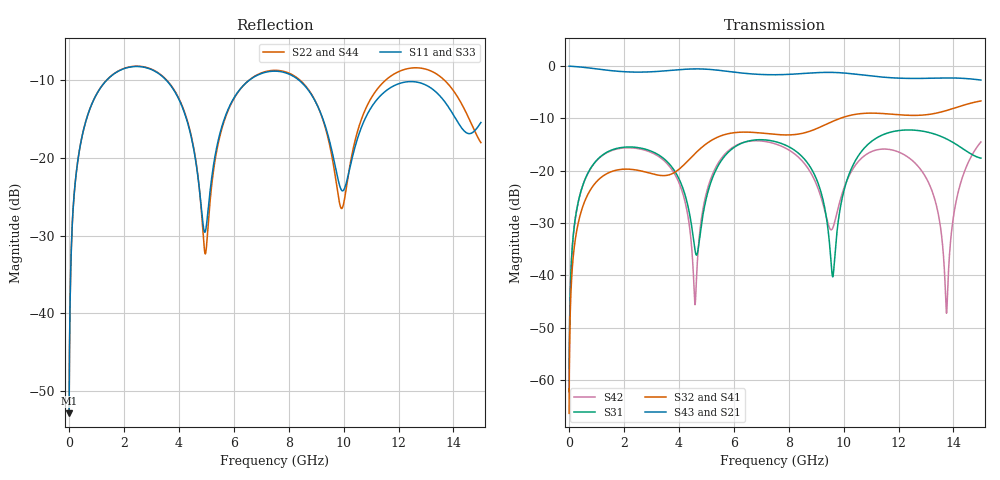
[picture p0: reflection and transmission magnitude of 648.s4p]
! Created with skrf 1.8.0 (http://scikit-rf.org).
# GHz S RI R 50.0
!freq ReS11 ImS11 ReS12 ImS12 ReS13 ImS13
! ReS14 ImS14
! ReS21 ImS21 ReS22 ImS22 ReS23 ImS23
! ReS24 ImS24
! ReS31 ImS31 ReS32 ImS32 ReS33 ImS33
! ReS34 ImS34
! ReS41 ImS41 ReS42 ImS42 ReS43 ImS43
! ReS44 ImS44
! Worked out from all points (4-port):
!   2499 points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, 5 MHz to 15 GHz, reference 50 ohm
!   strongest paths, dB at 5 MHz, 3.476 GHz, 7.19 GHz, 11.1 GHz, 15 GHz:
!     S43: 0.0, -0.9, -1.6, -1.9, -2.7
!     S21: 0.0, -0.9, -1.6, -1.9, -2.7
!     S32: -66.4, -20.9, -12.9, -9.0, -6.7
!     S41: -66.4, -20.9, -12.9, -9.0, -6.6
!     S31: -62.3, -17.8, -14.1, -14.1, -17.6
!     S42: -62.3, -18.1, -14.5, -16.2, -14.5
!   lowest |S11| = -52.9 dB at 5 MHz (marker M1), VSWR 1.00, Z = 50.2 + j0.137 ohm
!   |S11| at or under -10 dB: start of sweep to 1.373 GHz; 3.544 GHz to 6.565 GHz (3.021 GHz wide, 59.8 % of centre); 8.377 GHz to end of sweep
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0.005  0.00181 0.00137  0.9982 -0.00352  9.29e-05 0.000761  -8.99e-05 -0.00047
       0.9982 -0.00352  0.00181 0.00137  -8.99e-05 -0.00047  9.28e-05 0.000761
       9.29e-05 0.000761  -8.99e-05 -0.00047  0.00181 0.00137  0.9982 -0.00351
       -8.99e-05 -0.00047  9.28e-05 0.000761  0.9982 -0.00351  0.00181 0.00137
1.469362  0.2808 0.1708  0.5205 -0.7443  0.1427 0.0585  -0.0962 -0.000925
          0.5205 -0.7443  0.2826 0.1695  -0.0962 -0.000971  0.138 0.0653
          0.1427 0.0585  -0.0962 -0.000971  0.2808 0.1708  0.5205 -0.7442
          -0.0962 -0.000925  0.138 0.0653  0.5205 -0.7442  0.2825 0.1695
4.595665  0.0519 -0.0859  -0.892 -0.296  -0.0152 -0.00771  -0.0411 0.1403
          -0.892 -0.296  0.0439 -0.0923  -0.0419 0.14  0.0051 0.00132
          -0.0152 -0.00771  -0.0419 0.14  0.0509 -0.0852  -0.8921 -0.296
          -0.0411 0.1403  0.0051 0.00132  -0.8921 -0.296  0.0443 -0.0912
7.740725  0.3556 -0.0433  0.0127 0.8284  0.1525 -0.099  0.2078 -0.0729
          0.0127 0.8284  0.3599 -0.0476  0.2083 -0.0715  0.1515 -0.0799
          0.1525 -0.099  0.2083 -0.0715  0.3559 -0.0401  0.0119 0.8285
          0.2078 -0.0729  0.1515 -0.0799  0.0119 0.8285  0.3593 -0.05
9.604002  0.0759 -0.0731  0.8025 0.3356  -0.00936 0.00233  0.1067 -0.2763
          0.8025 0.3356  0.0623 -0.073  0.1082 -0.2756  -0.0273 0.00715
          -0.00936 0.00233  0.1082 -0.2756  0.0809 -0.0701  0.8021 0.337
          0.1067 -0.2763  -0.0273 0.00715  0.8021 0.337  0.0569 -0.0743
13.74948  0.2106 -0.0687  -0.3998 -0.6574  -0.0853 -0.1822  -0.3167 0.2034
          -0.3998 -0.6574  0.2623 -0.1587  -0.3189 0.1993  -0.00371 -0.00224
          -0.0853 -0.1822  -0.3189 0.1993  0.2102 -0.0671  -0.3969 -0.6599
          -0.3167 0.2034  -0.00371 -0.00224  -0.3969 -0.6599  0.2604 -0.1571
15  0.1589 0.0576  -0.7181 -0.1604  -0.1008 0.085  -0.0975 0.4554
    -0.7181 -0.1604  0.1115 -0.0572  -0.1017 0.4527  0.0509 0.1811
    -0.1008 0.085  -0.1017 0.4527  0.1655 0.0618  -0.7169 -0.1649
    -0.0975 0.4554  0.0509 0.1811  -0.7169 -0.1649  0.103 -0.0569
